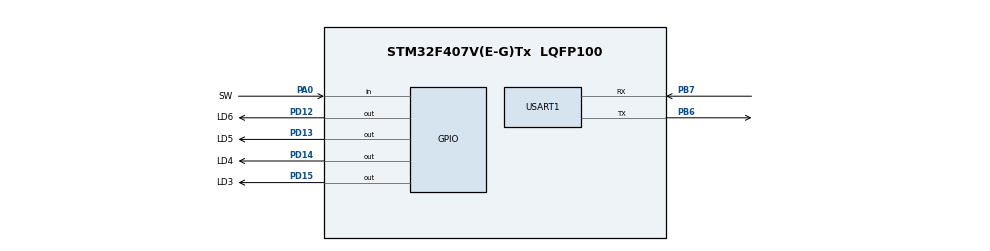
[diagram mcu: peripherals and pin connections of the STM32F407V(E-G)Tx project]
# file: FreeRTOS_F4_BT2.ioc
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Mcu.Family=STM32F4
Mcu.Name=STM32F407V(E-G)Tx
Mcu.Package=LQFP100
NVIC.PriorityGroup=NVIC_PRIORITYGROUP_4
NVIC.USART1_IRQn=true\:0\:0\:false\:false\:true\:true\:true\:true
PA0-WKUP.GPIO_Label=SW
PA0-WKUP.GPIO_PuPd=GPIO_NOPULL
PA0-WKUP.Signal=GPIO_Input
PB6.Mode=Asynchronous
PB6.Signal=USART1_TX
PB7.Mode=Asynchronous
PB7.Signal=USART1_RX
PD12.GPIO_Label=LD6
PD12.Signal=GPIO_Output
PD13.GPIO_Label=LD5
PD13.Signal=GPIO_Output
PD14.GPIO_Label=LD4
PD14.Signal=GPIO_Output
PD15.GPIO_Label=LD3
PD15.Signal=GPIO_Output
ProjectManager.HeapSize=0x200
ProjectManager.StackSize=0x400
ProjectManager.TargetToolchain=STM32CubeIDE
RCC.AHBFreq_Value=16000000
RCC.APB1Freq_Value=16000000
RCC.APB2Freq_Value=16000000
RCC.CortexFreq_Value=16000000
RCC.HSE_VALUE=25000000
RCC.HSI_VALUE=16000000
RCC.LSE_VALUE=32768
RCC.SYSCLKFreq_VALUE=16000000
RCC.VCOOutputFreq_Value=192000000
USART1.VirtualMode=VM_ASYNC
board=custom

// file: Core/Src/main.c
/* USER CODE BEGIN Header */
/**
  ******************************************************************************
  * @file           : main.c
  * @brief          : Main program body
  ******************************************************************************
  * @attention
  *
  * Copyright (c) 2024 STMicroelectronics.
  * All rights reserved.
  *
  * This software is licensed under terms that can be found in the LICENSE file
  * in the root directory of this software component.
  * If no LICENSE file comes with this software, it is provided AS-IS.
  *
  ******************************************************************************
  */
/* USER CODE END Header */
#include "main.h"

/* USER CODE BEGIN Includes */

#include <stdlib.h>
#include <string.h>

#include "FreeRTOS.h"
#include "task.h"
#include "uartstdio.h"
#include "queue.h"
/* USER CODE END Includes */

/* USER CODE BEGIN PD */
static void Status_Led_Task( void *pvParameters );
static void Switch_Task( void *pvParameters );
//static void UART_Task( void *pvParameters );

/* USER CODE END PD */

/* USER CODE BEGIN PV */
TaskHandle_t   status_task_Handle;
/* USER CODE END PV */

void SystemClock_Config(void);
static void MX_GPIO_Init(void);
static void MX_USART1_UART_Init(void);
/* USER CODE BEGIN PFP */
static char* getSubstring(const char *source, int start, int end);
/* USER CODE END PFP */

/* USER CODE BEGIN 0 */
xQueueHandle xQueue;

char led_cmd = 0;

//unsigned char rx_buf[15] = "";
//int uart_rx_end_index = 0;
//char uart_led_cmd = 0;

/* USER CODE END 0 */

int main(void)
{

  /* MCU Configuration--------------------------------------------------------*/

  /* Reset of all peripherals, Initializes the Flash interface and the Systick. */
  LL_APB2_GRP1_EnableClock(LL_APB2_GRP1_PERIPH_SYSCFG);
  LL_APB1_GRP1_EnableClock(LL_APB1_GRP1_PERIPH_PWR);

  /* System interrupt init*/
  NVIC_SetPriorityGrouping(NVIC_PRIORITYGROUP_4);

  /* SysTick_IRQn interrupt configuration */
  NVIC_SetPriority(SysTick_IRQn, NVIC_EncodePriority(NVIC_GetPriorityGrouping(),15, 0));

  /* Configure the system clock */
  SystemClock_Config();

  /* Initialize all configured peripherals */
  MX_GPIO_Init();
  MX_USART1_UART_Init();
  /* USER CODE BEGIN 2 */

  UARTStdioConfig(USART1,USART1_IRQn, true);

  xQueue = xQueueCreate( 15, sizeof( char ) );
  if( xQueue != NULL ){
	xTaskCreate(Status_Led_Task, "statusLEDTask",configMINIMAL_STACK_SIZE, NULL, 1, &status_task_Handle);
	xTaskCreate(Switch_Task, "SW task",configMINIMAL_STACK_SIZE, NULL, 1, NULL);
//	xTaskCreate(UART_Task, "UART task",configMINIMAL_STACK_SIZE, NULL, 1, NULL);

	vTaskStartScheduler();
  }
  /* USER CODE END 2 */

  /* Infinite loop */
  while (1)
  {

  }
}

void SystemClock_Config(void)
{
  LL_FLASH_SetLatency(LL_FLASH_LATENCY_0);
  while(LL_FLASH_GetLatency()!= LL_FLASH_LATENCY_0)
  {
  }
  LL_PWR_SetRegulVoltageScaling(LL_PWR_REGU_VOLTAGE_SCALE1);
  LL_RCC_HSI_SetCalibTrimming(16);
  LL_RCC_HSI_Enable();

   /* Wait till HSI is ready */
  while(LL_RCC_HSI_IsReady() != 1)
  {

  }
  LL_RCC_SetAHBPrescaler(LL_RCC_SYSCLK_DIV_1);
  LL_RCC_SetAPB1Prescaler(LL_RCC_APB1_DIV_1);
  LL_RCC_SetAPB2Prescaler(LL_RCC_APB2_DIV_1);
  LL_RCC_SetSysClkSource(LL_RCC_SYS_CLKSOURCE_HSI);

   /* Wait till System clock is ready */
  while(LL_RCC_GetSysClkSource() != LL_RCC_SYS_CLKSOURCE_STATUS_HSI)
  {

  }
  LL_Init1msTick(16000000);
  LL_SetSystemCoreClock(16000000);
}

static void MX_USART1_UART_Init(void)
{

  LL_USART_InitTypeDef USART_InitStruct = {0};

  LL_GPIO_InitTypeDef GPIO_InitStruct = {0};

  /* Peripheral clock enable */
  LL_APB2_GRP1_EnableClock(LL_APB2_GRP1_PERIPH_USART1);

  LL_AHB1_GRP1_EnableClock(LL_AHB1_GRP1_PERIPH_GPIOB);
  /**USART1 GPIO Configuration
  PB6   ------> USART1_TX
  PB7   ------> USART1_RX
  */
  GPIO_InitStruct.Pin = LL_GPIO_PIN_6|LL_GPIO_PIN_7;
  GPIO_InitStruct.Mode = LL_GPIO_MODE_ALTERNATE;
  GPIO_InitStruct.Speed = LL_GPIO_SPEED_FREQ_VERY_HIGH;
  GPIO_InitStruct.OutputType = LL_GPIO_OUTPUT_PUSHPULL;
  GPIO_InitStruct.Pull = LL_GPIO_PULL_NO;
  GPIO_InitStruct.Alternate = LL_GPIO_AF_7;
  LL_GPIO_Init(GPIOB, &GPIO_InitStruct);

  /* USART1 interrupt Init */
  NVIC_SetPriority(USART1_IRQn, NVIC_EncodePriority(NVIC_GetPriorityGrouping(),0, 0));
  NVIC_EnableIRQ(USART1_IRQn);

  USART_InitStruct.BaudRate = 115200;
  USART_InitStruct.DataWidth = LL_USART_DATAWIDTH_8B;
  USART_InitStruct.StopBits = LL_USART_STOPBITS_1;
  USART_InitStruct.Parity = LL_USART_PARITY_NONE;
  USART_InitStruct.TransferDirection = LL_USART_DIRECTION_TX_RX;
  USART_InitStruct.HardwareFlowControl = LL_USART_HWCONTROL_NONE;
  USART_InitStruct.OverSampling = LL_USART_OVERSAMPLING_16;
  LL_USART_Init(USART1, &USART_InitStruct);
  LL_USART_ConfigAsyncMode(USART1);
  LL_USART_Enable(USART1);

}

static void MX_GPIO_Init(void)
{
  LL_GPIO_InitTypeDef GPIO_InitStruct = {0};

  /* GPIO Ports Clock Enable */
  LL_AHB1_GRP1_EnableClock(LL_AHB1_GRP1_PERIPH_GPIOA);
  LL_AHB1_GRP1_EnableClock(LL_AHB1_GRP1_PERIPH_GPIOD);
  LL_AHB1_GRP1_EnableClock(LL_AHB1_GRP1_PERIPH_GPIOB);

  /**/
  LL_GPIO_ResetOutputPin(GPIOD, LD6_Pin|LD5_Pin|LD4_Pin|LD3_Pin);

  /**/
  GPIO_InitStruct.Pin = SW_Pin;
  GPIO_InitStruct.Mode = LL_GPIO_MODE_INPUT;
  GPIO_InitStruct.Pull = LL_GPIO_PULL_NO;
  LL_GPIO_Init(SW_GPIO_Port, &GPIO_InitStruct);

  /**/
  GPIO_InitStruct.Pin = LD6_Pin|LD5_Pin|LD4_Pin|LD3_Pin;
  GPIO_InitStruct.Mode = LL_GPIO_MODE_OUTPUT;
  GPIO_InitStruct.Speed = LL_GPIO_SPEED_FREQ_LOW;
  GPIO_InitStruct.OutputType = LL_GPIO_OUTPUT_PUSHPULL;
  GPIO_InitStruct.Pull = LL_GPIO_PULL_NO;
  LL_GPIO_Init(GPIOD, &GPIO_InitStruct);

}

/* USER CODE BEGIN 4 */
static void Status_Led_Task( void *pvParameters )
{
	char rcv_led_cmd;
	const portTickType xTicksToWait = 100 / portTICK_RATE_MS;
	while(1)
	{
		if( uxQueueMessagesWaiting( xQueue ) != 0 )
			if (xQueueReceive( xQueue, &rcv_led_cmd, xTicksToWait )==pdPASS)
				switch (rcv_led_cmd)
				{
					case 0:
					{
						LL_GPIO_SetOutputPin(LD6_GPIO_Port, LD6_Pin);
						UARTprintf("\n\rLED_Task: ON\n\n\r");
						break;
					}
					case 1:
					{
						LL_GPIO_ResetOutputPin(LD6_GPIO_Port, LD6_Pin);
						UARTprintf("\n\rLED_Task: OFF\n\n\r");
						break;
					}
					case 2:
					{
						LL_GPIO_TogglePin(LD6_GPIO_Port,LD6_Pin);
						UARTprintf("\n\rLED_Task: TOGGLED\n\n\r");
						break;
					}
					default:
						UARTprintf("LED_Task: Has received error command !!!\r\n");
				}
			else
				UARTprintf( "LED_Task: Could not receive from the queue.\r\n" );
//		else
//			UARTprintf( "LED_Task: Queue should have been empty!\r\n" );
		vTaskDelay(100);
	}
}

static void Switch_Task( void *pvParameters )
{
	while(1)
	{
		if (LL_GPIO_IsInputPinSet(SW_GPIO_Port, SW_Pin))
		{
			for(int i = 10000; i>0; i--);
			if (LL_GPIO_IsInputPinSet(SW_GPIO_Port, SW_Pin))
			{
				led_cmd = 2;
				if (xQueueSend(xQueue, &led_cmd, 10 ) != pdPASS)
					UARTprintf( "SW_TASK: Could not send to the queue.\r\n" );
			}
		}

//		taskYIELD();
		vTaskDelay(100);

	}
}

//static void UART_Task( void *pvParameters )
//{
//	while(1)
//	{
//		uart_rx_end_index = UARTgets(rx_buf, 15);
//		char *command = getSubstring(rx_buf, 0, uart_rx_end_index-1);
//		if (strcmp(command, "ON\CR\LF") == 0)
//			uart_led_cmd = 0;
//		else if (strcmp(command, "OFF\CR\LF") == 0)
//			uart_led_cmd = 1;
//		else if (strcmp(command, "TOGGLE\CR\LF") == 0)
//		    uart_led_cmd = 2;
//		else
//			goto end_task;
//
//		BaseType_t xHigherPriorityTaskWoken = pdTRUE;
//		if (xQueueSend(xQueue, &uart_led_cmd, 10 ) != pdPASS)
//			UARTprintf( "USART_Task: Could not send to the queue.\r\n" );
//
//end_task:
//		taskYIELD();
////		vTaskDelay(100);
//
//	}
//}
//
//
//static char* getSubstring(const char *source, int start, int end) {
//    int length = strlen(source);
//
//    if (start < 0 || start >= length || end < start || end >= length) {
//        return NULL;
//    }
//
//    int subLength = end - start + 1;
//
//    char *substring = (char*)malloc(subLength + 1);
//    if (substring == NULL) {
//        return NULL;
//    }
//
//    int i, j = 0;
//    for (i = start; i <= end; i++) {
//        substring[j++] = source[i];
//    }
//    substring[j] = '\0';
//
//    return substring;
//}

/* USER CODE END 4 */

void Error_Handler(void)
{
  __disable_irq();
  while (1)
  {
  }
}
